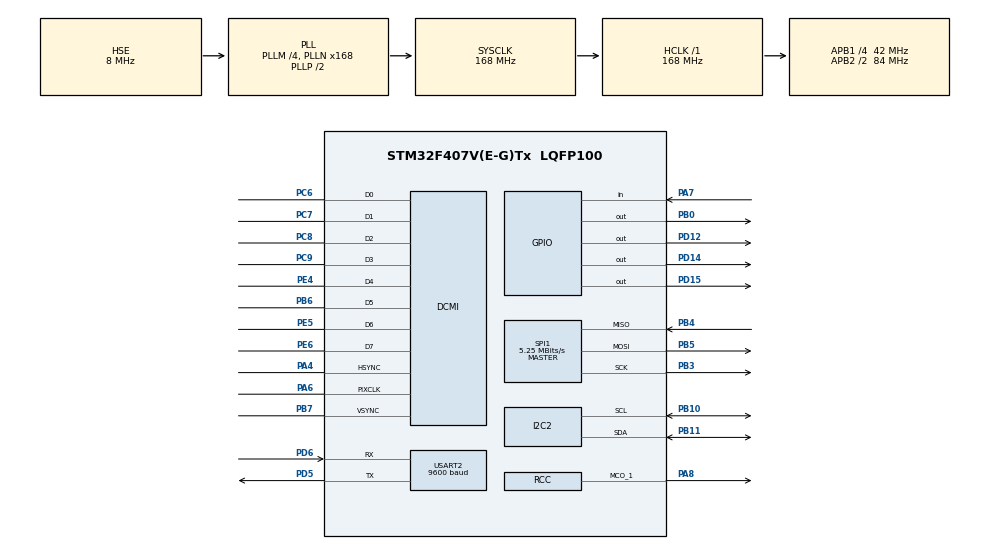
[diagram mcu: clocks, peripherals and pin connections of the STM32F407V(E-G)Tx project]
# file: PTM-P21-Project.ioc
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DCMI.JPEGMode=DCMI_JPEG_DISABLE
DCMI.PCKPolarity=DCMI_PCKPOLARITY_RISING
DCMI.VSPolarity=DCMI_VSPOLARITY_HIGH
Mcu.Family=STM32F4
Mcu.Name=STM32F407V(E-G)Tx
Mcu.Package=LQFP100
NVIC.DCMI_IRQn=true\:0\:0\:false\:false\:true\:true\:true
NVIC.PriorityGroup=NVIC_PRIORITYGROUP_4
NVIC.TIM3_IRQn=true\:0\:0\:false\:false\:true\:true\:true
NVIC.USART2_IRQn=true\:0\:0\:false\:false\:true\:true\:true
PA4.GPIO_Mode=GPIO_MODE_AF_PP
PA4.GPIO_PuPd=GPIO_NOPULL
PA4.GPIO_Speed=GPIO_SPEED_FREQ_LOW
PA4.Mode=Slave_8_bits_External_Synchro
PA4.Signal=DCMI_HSYNC
PA6.GPIO_Mode=GPIO_MODE_AF_PP
PA6.GPIO_PuPd=GPIO_NOPULL
PA6.GPIO_Speed=GPIO_SPEED_FREQ_LOW
PA6.Mode=Slave_8_bits_External_Synchro
PA6.Signal=DCMI_PIXCLK
PA7.Signal=GPIO_Input
PA8.Mode=Clock-out-1
PA8.Signal=RCC_MCO_1
PB0.Signal=GPIO_Output
PB10.Mode=I2C
PB10.Signal=I2C2_SCL
PB11.Mode=I2C
PB11.Signal=I2C2_SDA
PB3.Mode=Full_Duplex_Master
PB3.Signal=SPI1_SCK
PB4.Mode=Full_Duplex_Master
PB4.Signal=SPI1_MISO
PB5.Mode=Full_Duplex_Master
PB5.Signal=SPI1_MOSI
PB6.GPIO_Mode=GPIO_MODE_AF_PP
PB6.GPIO_PuPd=GPIO_NOPULL
PB6.GPIO_Speed=GPIO_SPEED_FREQ_LOW
PB6.Mode=Slave_8_bits_External_Synchro
PB6.Signal=DCMI_D5
PB7.GPIO_Mode=GPIO_MODE_AF_PP
PB7.GPIO_PuPd=GPIO_NOPULL
PB7.GPIO_Speed=GPIO_SPEED_FREQ_LOW
PB7.Mode=Slave_8_bits_External_Synchro
PB7.Signal=DCMI_VSYNC
PC6.GPIO_Mode=GPIO_MODE_AF_PP
PC6.GPIO_PuPd=GPIO_NOPULL
PC6.GPIO_Speed=GPIO_SPEED_FREQ_LOW
PC6.Mode=Slave_8_bits_External_Synchro
PC6.Signal=DCMI_D0
PC7.GPIO_Mode=GPIO_MODE_AF_PP
PC7.GPIO_PuPd=GPIO_NOPULL
PC7.GPIO_Speed=GPIO_SPEED_FREQ_LOW
PC7.Mode=Slave_8_bits_External_Synchro
PC7.Signal=DCMI_D1
PC8.GPIO_Mode=GPIO_MODE_AF_PP
PC8.GPIO_PuPd=GPIO_NOPULL
PC8.GPIO_Speed=GPIO_SPEED_FREQ_LOW
PC8.Mode=Slave_8_bits_External_Synchro
PC8.Signal=DCMI_D2
PC9.GPIO_Mode=GPIO_MODE_AF_PP
PC9.GPIO_PuPd=GPIO_NOPULL
PC9.GPIO_Speed=GPIO_SPEED_FREQ_LOW
PC9.Mode=Slave_8_bits_External_Synchro
PC9.Signal=DCMI_D3
PD12.Signal=GPIO_Output
PD14.Signal=GPIO_Output
PD15.Signal=GPIO_Output
PD5.Mode=Asynchronous
PD5.Signal=USART2_TX
PD6.Mode=Asynchronous
PD6.Signal=USART2_RX
PE4.Mode=Slave_8_bits_External_Synchro
PE4.Signal=DCMI_D4
PE5.Mode=Slave_8_bits_External_Synchro
PE5.Signal=DCMI_D6
PE6.Mode=Slave_8_bits_External_Synchro
PE6.Signal=DCMI_D7
PH0-OSC_IN.Mode=HSE-External-Oscillator
PH0-OSC_IN.Signal=RCC_OSC_IN
PH1-OSC_OUT.Mode=HSE-External-Oscillator
PH1-OSC_OUT.Signal=RCC_OSC_OUT
ProjectManager.HeapSize=0x200
ProjectManager.StackSize=0x400
ProjectManager.TargetToolchain=STM32CubeIDE
RCC.48MHZClocksFreq_Value=84000000
RCC.AHBFreq_Value=168000000
RCC.APB1CLKDivider=RCC_HCLK_DIV4
RCC.APB1Freq_Value=42000000
RCC.APB1TimFreq_Value=84000000
RCC.APB2CLKDivider=RCC_HCLK_DIV2
RCC.APB2Freq_Value=84000000
RCC.APB2TimFreq_Value=168000000
RCC.CortexFreq_Value=168000000
RCC.HCLKFreq_Value=168000000
RCC.HSE_VALUE=8000000
RCC.HSI_VALUE=16000000
RCC.LSE_VALUE=32768
RCC.PLLM=4
RCC.PLLN=168
RCC.PLLSourceVirtual=RCC_PLLSOURCE_HSE
RCC.RCC_MCO1Source=RCC_MCO1SOURCE_PLLCLK
RCC.RCC_MCODiv1=RCC_MCODIV_4
RCC.SYSCLKFreq_VALUE=168000000
RCC.SYSCLKSource=RCC_SYSCLKSOURCE_PLLCLK
RCC.VCOOutputFreq_Value=336000000
SPI1.BaudRatePrescaler=SPI_BAUDRATEPRESCALER_16
SPI1.CalculateBaudRate=5.25 MBits/s
SPI1.Direction=SPI_DIRECTION_2LINES
SPI1.Mode=SPI_MODE_MASTER
SPI1.VirtualType=VM_MASTER
TIM3.Period=9999
TIM3.Prescaler=8399
USART2.BaudRate=9600
USART2.VirtualMode=VM_ASYNC
VP_TIM3_VS_ClockSourceINT.Mode=Internal
board=custom

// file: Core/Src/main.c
/* USER CODE BEGIN Header */
/**
  ******************************************************************************
  * @file           : main.c //PROJECT
  * @brief          : Main program body
  ******************************************************************************
  * @attention
  *
  * <h2><center>&copy; Copyright (c) 2020 STMicroelectronics.
  * All rights reserved.</center></h2>
  *
  * This software component is licensed by ST under BSD 3-Clause license,
  * the "License"; You may not use this file except in compliance with the
  * License. You may obtain a copy of the License at:
  *                        opensource.org/licenses/BSD-3-Clause
  *
  ******************************************************************************
  */
/* USER CODE END Header */

#include "main.h"

/* USER CODE BEGIN Includes */
#include "dwt_delay.h"
#include "ff.h"
#include <stdbool.h>
#include "common.h"
#include "commonMsg.h"
#include "camera.h"
#include <time.h>
#include <stdlib.h>
#include <string.h>
#include "system_control.h"
#include "OV7670_control.h"

/* USER CODE END Includes */

/* USER CODE BEGIN PD */
#define FA_READ 0x01
#define FA_WRITE 0x02
#define FA_OPEN_EXISTING 0x00
#define FA_CREATE_NEW 0x04
#define FA_CREATE_ALWAYS 0x08
#define FA_OPEN_ALWAYS 0x10
#define FA_OPEN_APPEND 0x30
/* USER CODE END PD */

/* USER CODE BEGIN PM */
DMA_HandleTypeDef hdma_dcmi;

/* USER CODE END PM */

DCMI_HandleTypeDef hdcmi;
DMA_HandleTypeDef hdma_dcmi;

I2C_HandleTypeDef hi2c2;

SPI_HandleTypeDef hspi1;

TIM_HandleTypeDef htim3;

UART_HandleTypeDef huart2;

/* USER CODE BEGIN PV */
uint8_t sendUART[2] = {65,'B'};
uint8_t sendNot[12] = {'W', 'y', 'k', 'r', 'y', 't', 'o', ' ', 'r', 'u', 'c', 'h' };
uint16_t sizeNot = 12;
uint16_t sizeSendUART = 2;
uint8_t sendUARTz2[1] = {76};
uint16_t sizeSendUARTz2 = 1;
uint8_t receiveUART[1];
uint16_t sizeReceiveUART = 1;

//TEST

static volatile bool frame_flag = false;
static volatile bool send_sync_frame = false;

volatile uint8_t temp_buffer[IMG_ROWS * IMG_COLUMNS];
//

char buffer[256]; //bufor
static FATFS FatFs; //uchwyt
FRESULT fresult; //wyniku operacji

char name_res[25];
int photo_num = 1;

FIL file;
FIL file2;
WORD bytes_written;
WORD bytes_read;

uint8_t znak;
uint32_t distance;
uint32_t signal_time, sensor_time;

volatile int i = 0;
uint8_t  cam_buf[320 * 120 * 2];
UINT bw;

/* USER CODE END PV */

void SystemClock_Config(void);
static void MX_GPIO_Init(void);
static void MX_TIM3_Init(void);
static void MX_DCMI_Init(void);
static void MX_I2C2_Init(void);
static void MX_DMA_Init(void);
static void MX_USART2_UART_Init(void);
static void MX_SPI1_Init(void);

/* USER CODE BEGIN PFP */

char* concat(const char *s1, const char *s2)
{
    char *result = malloc(strlen(s1) + strlen(s2) + 1); // +1 for the null-terminator
    strcpy(result, s1);
    strcat(result, s2);
    return result;
}

void HAL_UART_RxCpltCallback(UART_HandleTypeDef *huart)
{
	if(huart->Instance == USART2)
		{// tutaj umieszczamy kod wykonywany po otrzymaniu bajtu
			HAL_UART_Receive_IT(&huart2, receiveUART, sizeReceiveUART);
			if (receiveUART[0] == 100){
				HAL_GPIO_WritePin(GPIOD, GPIO_PIN_12, 1);
			}
			else{
				HAL_GPIO_WritePin(GPIOD, GPIO_PIN_12, 0);
			}
			HAL_UART_Transmit_IT(&huart2, receiveUART, sizeSendUARTz2);
		}
}

void dumpFrame(void) {

	uint8_t *buffer = (uint8_t *) frame_buffer;
	int length = IMG_ROWS * IMG_COLUMNS * 2;
	// Copy every other byte from the main frame buffer to our temporary buffer (this converts the image to grey scale)
	int i;
	for (i = 1; i < length; i += 2) {
		temp_buffer[i / 2] = buffer[i];
	}
	// We only send the sync frame if it has been requested
	if (send_sync_frame) {
		for (i = 0x7f; i > 0; i--) {
			uint8_t val = i;
			Serial_sendb(&val);
		}
		send_sync_frame = false;
	}

	for (i = 0; i < (length / 2); i++) {
		if (i > 100) {
			Serial_sendb(&temp_buffer[i]);
		} else {
			uint8_t val = 0xff;
			Serial_sendb(&val); // Change first 100 pixels to white to provide a reference for where the frame starts
		}
	}
	// Enable capture and DMA after we have sent the photo. This is a workaround for the timing issues I've been having where
	// the DMA transfer is not in sync with the frames being sent
	DMA_Cmd(DMA2_Stream1, ENABLE);
	DCMI_Cmd(ENABLE);
	DCMI_CaptureCmd(ENABLE);
}

uint32_t hcsr04_read (void)
{		// 6 echo_pin	 0 pin_trigger
	signal_time=0;			//BIBLIOTEKA DWT_DELAY DLA DELAYU W US A NIE MS
	HAL_GPIO_WritePin(GPIOB, GPIO_PIN_0, GPIO_PIN_RESET);  // reset pinu
	DWT_Delay(2);

	HAL_GPIO_WritePin(GPIOB, GPIO_PIN_0, GPIO_PIN_SET);  // stan wysoki na pin
	DWT_Delay(10);
	HAL_GPIO_WritePin(GPIOB, GPIO_PIN_0, GPIO_PIN_RESET);  // stan wysoki na pin

	while (!(HAL_GPIO_ReadPin(GPIOA, GPIO_PIN_7)));  // petla az pin nie wejdzie w stan wysoki
	while (HAL_GPIO_ReadPin(GPIOA, GPIO_PIN_7))    // while jest wysoki mierz czas
	{
		signal_time++;
		DWT_Delay(1);
	}

	return signal_time;
}

void HAL_TIM_PeriodElapsedCallback(TIM_HandleTypeDef *htim)
{
	if(htim->Instance== TIM3)
	{
		//HAL_GPIO_TogglePin(GPIOD, GPIO_PIN_12);
	}
}

/* USER CODE END PFP */

int main(void)
{

  /* MCU Configuration--------------------------------------------------------*/

  /* Reset of all peripherals, Initializes the Flash interface and the Systick. */
  HAL_Init();

  /* USER CODE BEGIN Init */
  DWT_Init();
  /* USER CODE END Init */

  /* Configure the system clock */
  SystemClock_Config();

  /* Initialize all configured peripherals */
  MX_GPIO_Init();
  MX_TIM3_Init();
  MX_DCMI_Init();
  MX_I2C2_Init();
  MX_DMA_Init();
  MX_USART2_UART_Init();
  MX_SPI1_Init();
  /* USER CODE BEGIN 2 */

  if (camera_init() == RET_OK)
    {
  	  if (camera_config(CAMERA_MODE_QVGA_RGB565) == RET_OK) // CAMERA_MODE_QVGA_RGB565 -> ignored
  	  {
  		  HAL_GPIO_WritePin(GPIOD, GPIO_PIN_12, GPIO_PIN_SET); // init OK
  	  }
    }

  HAL_TIM_Base_Start_IT(&htim3);
  HAL_UART_Receive_IT(&huart2, receiveUART, sizeReceiveUART);

  /*
  fresult = f_mount(&FatFs, "", 0);
  fresult = f_open(&file, "write.txt", FA_OPEN_ALWAYS | FA_WRITE);
  int len = sprintf( buffer, "Testing fatfs\r\n");
  fresult = f_write(&file, buffer, len, &bytes_written);
  fresult = f_close(&file);

  fresult = f_open(&file2, "read.txt", FA_READ);
  fresult = f_read(&file2, buffer, 16, &bytes_read);
  fresult = f_close(&file2);*/

  /* USER CODE END 2 */

  /* Infinite loop */
  while (1)
  {

    /* USER CODE BEGIN 3 */
	  sensor_time = hcsr04_read();
	  distance  = sensor_time * .034/2;

	  if(distance < 30){
		  if (camera_startCap(CAMERA_CAP_SINGLE_FRAME, (uint32_t)cam_buf)  == RET_OK)
		  		  {
		  			  HAL_GPIO_WritePin(GPIOD, GPIO_PIN_12, GPIO_PIN_RESET);
		  			  camera_stopCap();
		  			  f_mount(&FatFs, "", 0);

		  			  char str[3];
		  			  sprintf(str, "%d", photo_num);
		  			  char *file_result = concat(str, ".raw");
		  			  photo_num += 1;
		  			  dumpFrame();
		  			  f_open(&file, "image.raw", FA_OPEN_ALWAYS | FA_CREATE_ALWAYS | FA_WRITE);

		  			  HAL_Delay(50);

		  			  for (int i = 0; i < 320 * 120 * 2; i += 2)
		  			  {
		  				  f_write(&file, &cam_buf[i], 2, &bw);
		  				  HAL_UART_Transmit_IT(&huart2, &cam_buf[i], 2);
		  			  }

		  			  fresult = f_close (&file);
		  			  HAL_GPIO_WritePin(GPIOD, GPIO_PIN_12, GPIO_PIN_SET); // captured
		  			  HAL_UART_Transmit_IT(&huart2, sendNot, sizeNot);
		  		  }
		  HAL_Delay(2000);
	  }

  }

  /* USER CODE END 3 */
}

void SystemClock_Config(void)
{
  RCC_OscInitTypeDef RCC_OscInitStruct = {0};
  RCC_ClkInitTypeDef RCC_ClkInitStruct = {0};

  /** Configure the main internal regulator output voltage
  */
  __HAL_RCC_PWR_CLK_ENABLE();
  __HAL_PWR_VOLTAGESCALING_CONFIG(PWR_REGULATOR_VOLTAGE_SCALE1);
  /** Initializes the CPU, AHB and APB busses clocks
  */
  RCC_OscInitStruct.OscillatorType = RCC_OSCILLATORTYPE_HSE;
  RCC_OscInitStruct.HSEState = RCC_HSE_ON;
  RCC_OscInitStruct.PLL.PLLState = RCC_PLL_ON;
  RCC_OscInitStruct.PLL.PLLSource = RCC_PLLSOURCE_HSE;
  RCC_OscInitStruct.PLL.PLLM = 4;
  RCC_OscInitStruct.PLL.PLLN = 168;
  RCC_OscInitStruct.PLL.PLLP = RCC_PLLP_DIV2;
  RCC_OscInitStruct.PLL.PLLQ = 4;
  if (HAL_RCC_OscConfig(&RCC_OscInitStruct) != HAL_OK)
  {
    Error_Handler();
  }
  /** Initializes the CPU, AHB and APB busses clocks
  */
  RCC_ClkInitStruct.ClockType = RCC_CLOCKTYPE_HCLK|RCC_CLOCKTYPE_SYSCLK
                              |RCC_CLOCKTYPE_PCLK1|RCC_CLOCKTYPE_PCLK2;
  RCC_ClkInitStruct.SYSCLKSource = RCC_SYSCLKSOURCE_PLLCLK;
  RCC_ClkInitStruct.AHBCLKDivider = RCC_SYSCLK_DIV1;
  RCC_ClkInitStruct.APB1CLKDivider = RCC_HCLK_DIV4;
  RCC_ClkInitStruct.APB2CLKDivider = RCC_HCLK_DIV2;

  if (HAL_RCC_ClockConfig(&RCC_ClkInitStruct, FLASH_LATENCY_5) != HAL_OK)
  {
    Error_Handler();
  }
  HAL_RCC_MCOConfig(RCC_MCO1, RCC_MCO1SOURCE_PLLCLK, RCC_MCODIV_4);
}

static void MX_DCMI_Init(void)
{

  hdcmi.Instance = DCMI;
  hdcmi.Init.SynchroMode = DCMI_SYNCHRO_HARDWARE;
  hdcmi.Init.PCKPolarity = DCMI_PCKPOLARITY_RISING;
  hdcmi.Init.VSPolarity = DCMI_VSPOLARITY_HIGH;
  hdcmi.Init.HSPolarity = DCMI_HSPOLARITY_LOW;
  hdcmi.Init.CaptureRate = DCMI_CR_ALL_FRAME;
  hdcmi.Init.ExtendedDataMode = DCMI_EXTEND_DATA_8B;
  hdcmi.Init.JPEGMode = DCMI_JPEG_DISABLE;
  if (HAL_DCMI_Init(&hdcmi) != HAL_OK)
  {
    Error_Handler();
  }

}

static void MX_I2C2_Init(void)
{

  hi2c2.Instance = I2C2;
  hi2c2.Init.ClockSpeed = 100000;
  hi2c2.Init.DutyCycle = I2C_DUTYCYCLE_2;
  hi2c2.Init.OwnAddress1 = 0;
  hi2c2.Init.AddressingMode = I2C_ADDRESSINGMODE_7BIT;
  hi2c2.Init.DualAddressMode = I2C_DUALADDRESS_DISABLE;
  hi2c2.Init.OwnAddress2 = 0;
  hi2c2.Init.GeneralCallMode = I2C_GENERALCALL_DISABLE;
  hi2c2.Init.NoStretchMode = I2C_NOSTRETCH_DISABLE;
  if (HAL_I2C_Init(&hi2c2) != HAL_OK)
  {
    Error_Handler();
  }

}

static void MX_SPI1_Init(void)
{

  /* SPI1 parameter configuration*/
  hspi1.Instance = SPI1;
  hspi1.Init.Mode = SPI_MODE_MASTER;
  hspi1.Init.Direction = SPI_DIRECTION_2LINES;
  hspi1.Init.DataSize = SPI_DATASIZE_8BIT;
  hspi1.Init.CLKPolarity = SPI_POLARITY_LOW;
  hspi1.Init.CLKPhase = SPI_PHASE_1EDGE;
  hspi1.Init.NSS = SPI_NSS_SOFT;
  hspi1.Init.BaudRatePrescaler = SPI_BAUDRATEPRESCALER_16;
  hspi1.Init.FirstBit = SPI_FIRSTBIT_MSB;
  hspi1.Init.TIMode = SPI_TIMODE_DISABLE;
  hspi1.Init.CRCCalculation = SPI_CRCCALCULATION_DISABLE;
  hspi1.Init.CRCPolynomial = 10;
  if (HAL_SPI_Init(&hspi1) != HAL_OK)
  {
    Error_Handler();
  }

}

static void MX_TIM3_Init(void)
{

  TIM_ClockConfigTypeDef sClockSourceConfig = {0};
  TIM_MasterConfigTypeDef sMasterConfig = {0};

  htim3.Instance = TIM3;
  htim3.Init.Prescaler = 8399;
  htim3.Init.CounterMode = TIM_COUNTERMODE_UP;
  htim3.Init.Period = 9999;
  htim3.Init.ClockDivision = TIM_CLOCKDIVISION_DIV1;
  htim3.Init.AutoReloadPreload = TIM_AUTORELOAD_PRELOAD_DISABLE;
  if (HAL_TIM_Base_Init(&htim3) != HAL_OK)
  {
    Error_Handler();
  }
  sClockSourceConfig.ClockSource = TIM_CLOCKSOURCE_INTERNAL;
  if (HAL_TIM_ConfigClockSource(&htim3, &sClockSourceConfig) != HAL_OK)
  {
    Error_Handler();
  }
  sMasterConfig.MasterOutputTrigger = TIM_TRGO_RESET;
  sMasterConfig.MasterSlaveMode = TIM_MASTERSLAVEMODE_DISABLE;
  if (HAL_TIMEx_MasterConfigSynchronization(&htim3, &sMasterConfig) != HAL_OK)
  {
    Error_Handler();
  }

}

static void MX_USART2_UART_Init(void)
{

  huart2.Instance = USART2;
  huart2.Init.BaudRate = 9600;
  huart2.Init.WordLength = UART_WORDLENGTH_8B;
  huart2.Init.StopBits = UART_STOPBITS_1;
  huart2.Init.Parity = UART_PARITY_NONE;
  huart2.Init.Mode = UART_MODE_TX_RX;
  huart2.Init.HwFlowCtl = UART_HWCONTROL_NONE;
  huart2.Init.OverSampling = UART_OVERSAMPLING_16;
  if (HAL_UART_Init(&huart2) != HAL_OK)
  {
    Error_Handler();
  }

}

static void MX_DMA_Init(void)
{

  /* DMA controller clock enable */
  __HAL_RCC_DMA2_CLK_ENABLE();

  /* DMA interrupt init */
  /* DMA2_Stream1_IRQn interrupt configuration */
  HAL_NVIC_SetPriority(DMA2_Stream1_IRQn, 0, 0);
  HAL_NVIC_EnableIRQ(DMA2_Stream1_IRQn);

}

static void MX_GPIO_Init(void)
{
  GPIO_InitTypeDef GPIO_InitStruct = {0};

  /* GPIO Ports Clock Enable */
  __HAL_RCC_GPIOE_CLK_ENABLE();
  __HAL_RCC_GPIOH_CLK_ENABLE();
  __HAL_RCC_GPIOA_CLK_ENABLE();
  __HAL_RCC_GPIOB_CLK_ENABLE();
  __HAL_RCC_GPIOD_CLK_ENABLE();
  __HAL_RCC_GPIOC_CLK_ENABLE();

  /*Configure GPIO pin Output Level */
  HAL_GPIO_WritePin(GPIOB, GPIO_PIN_0, GPIO_PIN_RESET);

  /*Configure GPIO pin Output Level */
  HAL_GPIO_WritePin(GPIOD, GPIO_PIN_12|GPIO_PIN_14|GPIO_PIN_15, GPIO_PIN_RESET);

  /*Configure GPIO pin : PA7 */
  GPIO_InitStruct.Pin = GPIO_PIN_7;
  GPIO_InitStruct.Mode = GPIO_MODE_INPUT;
  GPIO_InitStruct.Pull = GPIO_NOPULL;
  HAL_GPIO_Init(GPIOA, &GPIO_InitStruct);

  /*Configure GPIO pin : PB0 */
  GPIO_InitStruct.Pin = GPIO_PIN_0;
  GPIO_InitStruct.Mode = GPIO_MODE_OUTPUT_PP;
  GPIO_InitStruct.Pull = GPIO_NOPULL;
  GPIO_InitStruct.Speed = GPIO_SPEED_FREQ_LOW;
  HAL_GPIO_Init(GPIOB, &GPIO_InitStruct);

  /*Configure GPIO pins : PD12 PD14 PD15 */
  GPIO_InitStruct.Pin = GPIO_PIN_12|GPIO_PIN_14|GPIO_PIN_15;
  GPIO_InitStruct.Mode = GPIO_MODE_OUTPUT_PP;
  GPIO_InitStruct.Pull = GPIO_NOPULL;
  GPIO_InitStruct.Speed = GPIO_SPEED_FREQ_LOW;
  HAL_GPIO_Init(GPIOD, &GPIO_InitStruct);

  /*Configure GPIO pin : PA8 */
  GPIO_InitStruct.Pin = GPIO_PIN_8;
  GPIO_InitStruct.Mode = GPIO_MODE_AF_PP;
  GPIO_InitStruct.Pull = GPIO_NOPULL;
  GPIO_InitStruct.Speed = GPIO_SPEED_FREQ_LOW;
  GPIO_InitStruct.Alternate = GPIO_AF0_MCO;
  HAL_GPIO_Init(GPIOA, &GPIO_InitStruct);

}

void Error_Handler(void)
{
}

/************************ (C) COPYRIGHT STMicroelectronics *****END OF FILE****/
